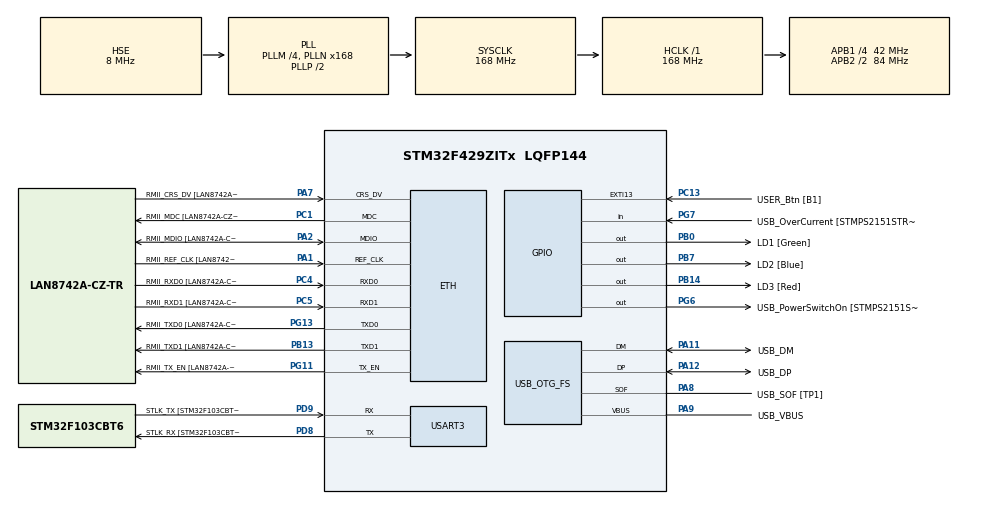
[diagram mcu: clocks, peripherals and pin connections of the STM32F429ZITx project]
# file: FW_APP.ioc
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Dma.Request0=USART3_RX
Dma.USART3_RX.0.Direction=DMA_PERIPH_TO_MEMORY
Dma.USART3_RX.0.FIFOMode=DMA_FIFOMODE_DISABLE
Dma.USART3_RX.0.Instance=DMA1_Stream1
Dma.USART3_RX.0.MemDataAlignment=DMA_MDATAALIGN_BYTE
Dma.USART3_RX.0.MemInc=DMA_MINC_ENABLE
Dma.USART3_RX.0.Mode=DMA_CIRCULAR
Dma.USART3_RX.0.PeriphDataAlignment=DMA_PDATAALIGN_BYTE
Dma.USART3_RX.0.PeriphInc=DMA_PINC_DISABLE
Dma.USART3_RX.0.Priority=DMA_PRIORITY_LOW
ETH.MediaInterface=HAL_ETH_RMII_MODE
ETH.PHY_Name=LAN8742A_PHY_ADDRESS
ETH.PHY_Value=0
ETH.PhyAddress=0
FREERTOS.Tasks01=defaultTask,24,128,StartDefaultTask,Default,NULL,Dynamic,NULL,NULL
FREERTOS.configCHECK_FOR_STACK_OVERFLOW=2
FREERTOS.configTOTAL_HEAP_SIZE=24576
FREERTOS.configUSE_MALLOC_FAILED_HOOK=1
IWDG.Prescaler=IWDG_PRESCALER_256
IWDG.Reload=500
LWIP.BSP.number=1
LWIP.DEFAULT_ACCEPTMBOX_SIZE=4
LWIP.DEFAULT_TCP_RECVMBOX_SIZE=8
LWIP.GATEWAY_ADDRESS=192.168.172.001
LWIP.IP_ADDRESS=192.168.172.100
LWIP.LWIP_DHCP=0
LWIP.LWIP_SO_RCVTIMEO=1
LWIP.LWIP_SO_SNDTIMEO=1
LWIP.MEM_SIZE=8192
LWIP.NETMASK_ADDRESS=255.255.255.000
LWIP.TCPIP_MBOX_SIZE=8
LWIP.TCPIP_THREAD_PRIO=40
LWIP.TCPIP_THREAD_STACKSIZE=2048
LWIP.Version=v2.1.2_Cube
LWIP0.BSP.STBoard=false
LWIP0.BSP.api=BSP_COMPONENT_DRIVER
LWIP0.BSP.component=LAN8742
LWIP0.BSP.instance=LAN8742
LWIP0.BSP.name=Driver_PHY
LWIP0.BSP.semaphore=S_LAN8742
LWIP0.BSP.solution=LAN8742
Mcu.Family=STM32F4
Mcu.Name=STM32F429ZITx
Mcu.Package=LQFP144
NVIC.DMA1_Stream1_IRQn=true\:5\:0\:false\:false\:true\:true\:false\:true\:true
NVIC.ETH_IRQn=true\:5\:0\:false\:false\:true\:true\:false\:true\:true
NVIC.PriorityGroup=NVIC_PRIORITYGROUP_4
NVIC.TIM6_DAC_IRQn=true\:0\:0\:true\:false\:true\:false\:false\:true\:true
NVIC.TimeBase=TIM6_DAC_IRQn
NVIC.TimeBaseIP=TIM6
NVIC.USART3_IRQn=true\:6\:0\:true\:false\:true\:true\:true\:true\:true
PA1.GPIO_Label=RMII_REF_CLK [LAN8742A-CZ-TR_REFCLK0]
PA1.Mode=RMII
PA1.Signal=ETH_REF_CLK
PA10.GPIO_Label=USB_ID
PA10.Signal=USB_OTG_FS_ID
PA11.GPIO_Label=USB_DM
PA11.Mode=Device_Only
PA11.Signal=USB_OTG_FS_DM
PA12.GPIO_Label=USB_DP
PA12.Mode=Device_Only
PA12.Signal=USB_OTG_FS_DP
PA13.GPIO_Label=TMS
PA13.Mode=Serial_Wire
PA13.Signal=SYS_JTMS-SWDIO
PA14.GPIO_Label=TCK
PA14.Mode=Serial_Wire
PA14.Signal=SYS_JTCK-SWCLK
PA2.GPIO_Label=RMII_MDIO [LAN8742A-CZ-TR_MDIO]
PA2.Mode=RMII
PA2.Signal=ETH_MDIO
PA7.GPIO_Label=RMII_CRS_DV [LAN8742A-CZ-TR_CRS_DV]
PA7.Mode=RMII
PA7.Signal=ETH_CRS_DV
PA8.GPIO_Label=USB_SOF [TP1]
PA8.Mode=Activate_SOF_FS
PA8.Signal=USB_OTG_FS_SOF
PA9.GPIO_Label=USB_VBUS
PA9.Mode=Activate_VBUS
PA9.Signal=USB_OTG_FS_VBUS
PB0.GPIO_Label=LD1 [Green]
PB0.Signal=GPIO_Output
PB13.GPIO_Label=RMII_TXD1 [LAN8742A-CZ-TR_TXD1]
PB13.Mode=RMII
PB13.Signal=ETH_TXD1
PB14.GPIO_Label=LD3 [Red]
PB14.Signal=GPIO_Output
PB7.GPIO_Label=LD2 [Blue]
PB7.Signal=GPIO_Output
PC1.GPIO_Label=RMII_MDC [LAN8742A-CZ-TR_MDC]
PC1.Mode=RMII
PC1.Signal=ETH_MDC
PC13.GPIO_Label=USER_Btn [B1]
PC13.Signal=GPXTI13
PC14/OSC32_IN.Mode=LSE-External-Oscillator
PC14/OSC32_IN.Signal=RCC_OSC32_IN
PC15/OSC32_OUT.Mode=LSE-External-Oscillator
PC15/OSC32_OUT.Signal=RCC_OSC32_OUT
PC4.GPIO_Label=RMII_RXD0 [LAN8742A-CZ-TR_RXD0]
PC4.Mode=RMII
PC4.Signal=ETH_RXD0
PC5.GPIO_Label=RMII_RXD1 [LAN8742A-CZ-TR_RXD1]
PC5.Mode=RMII
PC5.Signal=ETH_RXD1
PD8.GPIO_Label=STLK_RX [STM32F103CBT6_PA3]
PD8.Mode=Asynchronous
PD8.Signal=USART3_TX
PD9.GPIO_Label=STLK_TX [STM32F103CBT6_PA2]
PD9.Mode=Asynchronous
PD9.Signal=USART3_RX
PG11.GPIO_Label=RMII_TX_EN [LAN8742A-CZ-TR_TXEN]
PG11.Mode=RMII
PG11.Signal=ETH_TX_EN
PG13.GPIO_Label=RMII_TXD0 [LAN8742A-CZ-TR_TXD0]
PG13.Mode=RMII
PG13.Signal=ETH_TXD0
PG6.GPIO_Label=USB_PowerSwitchOn [STMPS2151STR_EN]
PG6.Signal=GPIO_Output
PG7.GPIO_Label=USB_OverCurrent [STMPS2151STR_FAULT]
PG7.Signal=GPIO_Input
PH0/OSC_IN.GPIO_Label=MCO [STM32F103CBT6_PA8]
PH0/OSC_IN.Mode=HSE-External-Clock-Source
PH0/OSC_IN.Signal=RCC_OSC_IN
PH1/OSC_OUT.Mode=HSE-External-Clock-Source
PH1/OSC_OUT.Signal=RCC_OSC_OUT
ProjectManager.HeapSize=0x200
ProjectManager.StackSize=0x400
ProjectManager.TargetToolchain=STM32CubeIDE
RCC.48MHZClocksFreq_Value=48000000
RCC.AHBFreq_Value=168000000
RCC.APB1CLKDivider=RCC_HCLK_DIV4
RCC.APB1Freq_Value=42000000
RCC.APB1TimFreq_Value=84000000
RCC.APB2CLKDivider=RCC_HCLK_DIV2
RCC.APB2Freq_Value=84000000
RCC.APB2TimCLKDivider=2
RCC.APB2TimFreq_Value=168000000
RCC.CortexFreq_Value=168000000
RCC.HCLKFreq_Value=168000000
RCC.HSE_VALUE=8000000
RCC.HSI_VALUE=16000000
RCC.PLLM=4
RCC.PLLMUL=RCC_PLL_MUL9
RCC.PLLN=168
RCC.PLLQ=7
RCC.PRESCALERUSB=RCC_USBCLKSOURCE_PLL_DIV1_5
RCC.SYSCLKFreq_VALUE=168000000
RCC.SYSCLKSource=RCC_SYSCLKSOURCE_PLLCLK
RCC.SYSCLKSourceVirtual=RCC_SYSCLKSOURCE_PLLCLK
RCC.USBFreq_Value=48000000
RCC.VCOOutputFreq_Value=336000000
USART3.VirtualMode=VM_ASYNC
USB_OTG_FS.VirtualMode=Device_Only
VP_CRC_VS_CRC.Mode=CRC_Activate
VP_FREERTOS_VS_CMSIS_V2.Mode=CMSIS_V2
VP_IWDG_VS_IWDG.Mode=IWDG_Activate
VP_LWIP_VS_Enabled.Mode=Enabled
VP_SYS_VS_tim6.Mode=TIM6
board=NUCLEO-F429ZI

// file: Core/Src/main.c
/* USER CODE BEGIN Header */
/**
  ******************************************************************************
  * @file           : main.c
  * @brief          : Main program body
  ******************************************************************************
  * @attention
  *
  * Copyright (c) 2026 STMicroelectronics.
  * All rights reserved.
  *
  * This software is licensed under terms that can be found in the LICENSE file
  * in the root directory of this software component.
  * If no LICENSE file comes with this software, it is provided AS-IS.
  *
  ******************************************************************************
  */
/* USER CODE END Header */
#include "main.h"
#include "cmsis_os.h"
#include "lwip.h"

/* USER CODE BEGIN Includes */
#include "flash_if.h"
#include "net_link.h"
#include "dbg_uart.h"
#include "wdg_monitor.h"
#include "uart_link.h"
#include "fw_info.h"
#include "ota.h"             /* FwTransport/FwTarget + Ota_EnterDownloadMode/Ota_RequestRollback */
#include "sys_info.h"        /* SysInfo_Report — 접속 시 보드/메모리 정보 조회 */
#include <string.h>          /* 명령 매처의 memcmp/memset */
/* USER CODE END Includes */

CRC_HandleTypeDef hcrc;

IWDG_HandleTypeDef hiwdg;

UART_HandleTypeDef huart3;
DMA_HandleTypeDef hdma_usart3_rx;

PCD_HandleTypeDef hpcd_USB_OTG_FS;

/* Definitions for defaultTask */
osThreadId_t defaultTaskHandle;
const osThreadAttr_t defaultTask_attributes = {
  .name = "defaultTask",
  /* [R1 디버깅] 기본값 128*4(512B)에서 4096B로 키움.
   * 이 태스크가 MX_LWIP_Init()을 실행하는데, 그 안의 HAL_ETH_Init()/LAN8742_Init()이
   * 큰 지역 구조체(ETH_MACConfigTypeDef 등)를 써서 512B로는 스택이 넘친다.
   * ※ 이 줄은 CubeMX 생성 영역이라 재생성 시 되돌아간다.
   *   확정되면 CubeMX(FREERTOS → Tasks and Queues → defaultTask → Stack Size = 1024 words)에도 반영할 것.
   * 이 태스크는 초기화 후 osThreadExit()로 종료되므로 스택은 곧 회수된다. */
  .stack_size = 1024 * 4,
  .priority = (osPriority_t) osPriorityNormal,
};
/* USER CODE BEGIN PV */

/* --- ledTask: 하트비트(LD2) 겸 CPU 기아 감지기 ---
 * 최저 우선순위(osPriorityLow)로 두는 것이 의도적인 설계다. 상위 태스크가 CPU를 독점하면
 * 이 태스크가 가장 먼저 굶으므로, R2에서 워치독 체크인을 붙이면 그대로 '기아 감지기'가 된다.
 * (하트비트 LED와 생존 감시가 같은 메커니즘이 된다) */
osThreadId_t ledTaskHandle;
const osThreadAttr_t ledTask_attributes = {
  .name       = "ledTask",
  /* 512 → 1024. 실측 사용량은 320~328B로 안정적이라 512B에서도 동작에 문제는 없었지만
   * (여유 36~38%), 다른 태스크가 42~87%인 것에 비해 혼자 얇아 여유를 맞췄다.
   * 힙 여유가 12KB라 비용이 작다. 사용량에는 App_PrintStatusLine()의 지역 버퍼
   * (STATUS_LINE_MAX=96B)가 포함된다. */
  .stack_size = 1024,
  .priority   = (osPriority_t) osPriorityLow,
};

/* --- wdgTask: 체크인 취합 후 IWDG pet ---
 * OTA/통신 태스크보다 '위'에 둔다(폭주 태스크가 감시 판정을 지연시키지 못하게).
 * 다만 네트워크 스레드(tcpip/EthIf)보다는 '아래'에 둬서 lwIP에 지터를 주지 않는다. */
osThreadId_t wdgTaskHandle;
const osThreadAttr_t wdgTask_attributes = {
  .name       = "wdgTask",
  .stack_size = 512,
  .priority   = (osPriority_t) osPriorityAboveNormal,
};

/* --- uartTask: UART "FWUPDATE" 감시 + OTA 수행 ---
 * Ota_EnterDownloadMode가 256B 청크 버퍼 등을 스택에 두므로 넉넉히 잡는다. */
osThreadId_t uartTaskHandle;
const osThreadAttr_t uartTask_attributes = {
  .name       = "uartTask",
  /* 2048 → 2560. ota.c 분할로 호출 사슬이 깊어졌고(Ota_EnterDownloadMode → ota_run →
   * ota_recv_chunks(buf[256]) → ota_recv_one_chunk), 여기에 SysInfo_Report까지 얹혔다.
   * 실측(netTask)에서 여유가 356B(17%)까지 내려간 적이 있어 두 태스크를 함께 올린다. */
  .stack_size = 2560,
  .priority   = (osPriority_t) osPriorityNormal,
};

/* --- netTask: TCP 서버 (R4는 echo, R5부터 OTA) ---
 * 소켓 API와 Ota_EnterDownloadMode(256B 청크 버퍼)를 쓰므로 uartTask와 같은 크기로 잡는다. */
osThreadId_t netTaskHandle;
const osThreadAttr_t netTask_attributes = {
  .name       = "netTask",
  /* 2048 → 2560. 실측 여유가 356B(17%)까지 내려갔다 — 다른 태스크(69~87%)에 비해
   * 혼자 얇다. 원인은 ota.c 분할로 깊어진 호출 사슬. 자세한 건 uartTask 주석 참고. */
  .stack_size = 2560,
  .priority   = (osPriority_t) osPriorityNormal,
};

/* USER CODE END PV */

void SystemClock_Config(void);
static void MX_GPIO_Init(void);
static void MX_DMA_Init(void);
static void MX_USART3_UART_Init(void);
static void MX_USB_OTG_FS_PCD_Init(void);
static void MX_IWDG_Init(void);
static void MX_CRC_Init(void);
void StartDefaultTask(void *argument);

/* USER CODE BEGIN PFP */
static void StartLedTask(void *argument);
static void StartUartTask(void *argument);
static void StartNetTask(void *argument);
/* USER CODE END PFP */

/* USER CODE BEGIN 0 */

/* 워치독 감시 슬롯 ID (StartDefaultTask에서 등록) */
static WdgId s_ledWdgId  = WDG_INVALID_ID;
static WdgId s_uartWdgId = WDG_INVALID_ID;
static WdgId s_netWdgId  = WDG_INVALID_ID;

/* OTA 세션 상호배제: UART와 TCP 두 경로가 동시에 다운로드를 시작하지 못하게 한다.
 * 반드시 try-lock(타임아웃 0)으로만 잡는다 — 블로킹으로 기다리면 진 쪽이 앞선 세션이
 * 끝난 뒤 '두 번째' 다운로드를 시작해 Staging을 망친다. 잡으면 풀지 않는다
 * (성공=재부팅, 실패=Wdg_Panic 후 정지). 부팅 후 모든 flash 접근도 이 뮤텍스로 직렬화된다. */
static osMutexId_t s_otaMutex = NULL;

/* USART3 송신권. 주기적인 버전 로그(ledTask)와 OTA 프로토콜 응답(uartTask)이 같은 UART를
 * 쓰기 때문에 반드시 배타 처리해야 한다. 로그가 청크 스트림 사이에 끼어들면 전송이 깨진다.
 *   · 로거  : try-lock. 못 잡으면 이번 주기 로그를 조용히 건너뛴다.
 *   · OTA   : 세션 '전체' 동안 잡는다(응답 하나하나가 아니라 세션 단위여야 안전).
 * TCP OTA는 다른 채널이므로 이 뮤텍스를 잡지 않는다 — 그동안 UART 로그는 계속 나온다. */
static osMutexId_t s_uartTxMutex = NULL;

/* 상태 한 줄이 들어갈 크기: 고정 문구(~30) + 버전 2개(FW_INFO_VER_LEN) + up 초(10) + 여유 */
#define STATUS_LINE_MAX   96U

/** @brief strnlen 대체 — nano.specs 조합에서 가시성이 옵션에 좌우되지 않도록 직접 둔다.
  *        Factory 슬롯에서 읽은 문자열은 널 종료가 깨져 있을 수 있어 상한이 반드시 필요하다. */
static uint32_t App_StrNLen(const char *s, uint32_t max)
{
  uint32_t n = 0U;
  while ((n < max) && (s[n] != '\0')) { n++; }
  return n;
}

/** @brief 부호 없는 10진수를 dst에 쓰고, 쓴 길이를 반환한다(널 종료 없음). */
static uint32_t App_U32ToDec(char *dst, uint32_t v)
{
  char     tmp[10];
  uint32_t n = 0U;
  uint32_t i = 0U;

  if (v == 0U) { dst[0] = '0'; return 1U; }

  while ((v > 0U) && (n < sizeof(tmp))) { tmp[n++] = (char)('0' + (v % 10U)); v /= 10U; }
  while (n > 0U) { dst[i++] = tmp[--n]; }
  return i;
}

/**
  * @brief  현재 상태 한 줄을 dst에 조립한다(널 종료). 반환값은 문자열 길이.
  * @note   형식이 UART 주기 로그와 '글자 단위로 같아야' 한다 — Ethernet 뷰어와 RS-232
  *         뷰어가 같은 화면으로 보이는 것이 이 기능의 목적이기 때문이다.
  *         그래서 UART/TCP 양쪽이 모두 이 함수를 통과한다.
  */
static uint32_t App_BuildStatusLine(char *dst, uint32_t cap)
{
  static const char P0[] = "[FW] app=";
  static const char P1[] = "  factory=";
  static const char P2[] = "  up=";
  static const char P3[] = "s\r\n";

  const char *app  = g_fwInfo.version;
  const char *fact = FwInfo_VersionOf(FACTORY_ADDRESS, FACTORY_SIZE);
  uint32_t    n    = 0U;

  /* cap은 STATUS_LINE_MAX로 넉넉히 잡혀 있지만, 버전 문자열이 손상돼 길어질 수 있으므로
   * (Factory 슬롯을 그대로 읽는다) 매 조각마다 남은 공간을 확인한다. */
  #define APPEND(src, len)  do {                                   \
      uint32_t _l = (uint32_t)(len);                               \
      if ((n + _l) >= cap) { dst[n] = '\0'; return n; }            \
      memcpy(&dst[n], (src), _l); n += _l;                         \
    } while (0)

  APPEND(P0, sizeof(P0) - 1U);
  APPEND(app,  App_StrNLen(app,  FW_INFO_VER_LEN));
  APPEND(P1, sizeof(P1) - 1U);
  APPEND(fact, App_StrNLen(fact, FW_INFO_VER_LEN));
  APPEND(P2, sizeof(P2) - 1U);

  if ((n + 10U) < cap) { n += App_U32ToDec(&dst[n], HAL_GetTick() / 1000U); }

  APPEND(P3, sizeof(P3) - 1U);
  #undef APPEND

  dst[n] = '\0';
  return n;
}

/* --- SysInfo 보고를 각 전송 계층으로 흘려보내는 어댑터 ---
 * SysInfo_Report는 줄 단위 콜백으로 내보내므로, 큰 버퍼 없이 그대로 중계하면 된다. */
static void App_SysInfoToUart(void *ctx, const char *line)
{
  (void)ctx;
  Dbg_Puts(line);                    /* 호출자가 s_uartTxMutex를 쥔 상태여야 한다 */
}

static void App_SysInfoToTcp(void *ctx, const char *line)
{
  (void)ctx;
  (void)NetLink_Send((const uint8_t *)line, (uint32_t)strlen(line));
}

/**
  * @brief  현재 상태 한 줄을 USART3로 출력한다(ledTask의 주기 로그).
  * @note   호출자가 USART3 송신권을 이미 확보한 상태로 부를 것.
  */
static void App_PrintStatusLine(void)
{
  char buf[STATUS_LINE_MAX];
  (void)App_BuildStatusLine(buf, sizeof(buf));
  Dbg_Puts(buf);
}

/* --- UART 전송 백엔드 (USART3: 순환 DMA + StreamBuffer) --- */
static bool Uart_Recv(uint8_t *buf, uint32_t len, uint32_t timeoutMs)
{
  return UartLink_Recv(buf, len, timeoutMs);
}
static bool Uart_Send(const uint8_t *buf, uint32_t len)
{
  return UartLink_Send(buf, len);
}
static void Uart_Pet(void)
{
  /* [R3] 직접 IWDG를 갱신하지 않는다 — 체크인만 하고, 실제 pet은 wdgTask가
   * '등록된 모든 태스크가 기한 내 체크인'했을 때만 수행한다. */
  Wdg_CheckIn(s_uartWdgId);
}

/* --- TCP 전송 백엔드 (lwIP, net_link) --- */
static bool Tcp_Recv(uint8_t *buf, uint32_t len, uint32_t timeoutMs)
{
  return NetLink_Recv(buf, len, timeoutMs);
}
static bool Tcp_Send(const uint8_t *buf, uint32_t len)
{
  return NetLink_Send(buf, len);
}
static void Tcp_Pet(void)
{
  /* [R4] 예전에는 여기서 NetLink_Poll()로 lwIP를 손수 돌려야 했다. 베어메탈에서는
   * 긴 erase 동안 단일 루프가 멈추면 스택도 같이 죽었기 때문이다. 이제 lwIP가
   * 자체 tcpip_thread로 계속 돌아가므로 그 펌핑은 불필요하다 — 체크인만 하면 된다. */
  Wdg_CheckIn(s_netWdgId);
}

/* 재부팅 직전 TCP 세션을 정상 종료한다(FIN). 상대가 '연결이 끊겼다'를 알아야
 * 재전송을 멈추고, 그래야 리셋된 PHY가 조용한 매체에서 오토네고를 성공시킨다.
 * 자세한 배경은 ota.h의 FwTransport 주석 참고. */
static void Tcp_Quiesce(void)
{
  NetLink_CloseClient();
}

static const FwTransport uartTransport = { Uart_Recv, Uart_Send, Uart_Pet, NULL         };
static const FwTransport tcpTransport  = { Tcp_Recv,  Tcp_Send,  Tcp_Pet,  Tcp_Quiesce  };

/* USER CODE END 0 */

int main(void)
{

  /* USER CODE BEGIN 1 */

  /* === 벡터 테이블 재배치 (★필수) ===
   * 이 앱은 0x0802_0000(실행영역)에 위치하므로, 인터럽트 벡터 테이블 위치를 CPU에 알려준다.
   * 이 줄이 없으면 인터럽트 발생 시 CPU가 부트로더(0x0800_0000)의 핸들러로 점프해 오동작한다. */
  SCB->VTOR = 0x08020000U;

  /* === 잔류 인터럽트 정리 (RTOS 전환과 함께 필요해짐) ===
   * 부트로더는 점프 전에 HAL_DeInit까지 하지만 NVIC의 enable/pending 비트는 지우지 않는다.
   * 지금까지는 앱에 페리페럴 인터럽트가 하나도 없어서 무해했지만, 이제 TIM6/ETH/USART3/DMA
   * 핸들러가 생기므로 잔류 pending이 '핸들러는 있는데 핸들이 아직 초기화 안 된' 상태로
   * 튈 수 있다. (부트로더는 수정 대상이 아니므로 앱에서 방어한다) */
  for (int i = 0; i < 8; i++)
  {
    NVIC->ICER[i] = 0xFFFFFFFFU;   /* 전부 disable */
    NVIC->ICPR[i] = 0xFFFFFFFFU;   /* 전부 pending clear */
  }
  __DSB();
  __ISB();

  /* USER CODE END 1 */

  /* MCU Configuration--------------------------------------------------------*/

  /* Reset of all peripherals, Initializes the Flash interface and the Systick. */
  HAL_Init();

  /* Configure the system clock */
  SystemClock_Config();

  /* Initialize all configured peripherals */
  MX_GPIO_Init();
  MX_DMA_Init();
  MX_USART3_UART_Init();
  MX_USB_OTG_FS_PCD_Init();
  MX_IWDG_Init();
  MX_CRC_Init();
  /* USER CODE BEGIN 2 */

  /* 시험 부팅(TRIAL) 중이면 자가진단 후 '정상 확인(CONFIRMED)'을 기록한다.
   * 여기까지 도달 = 앱이 부팅·초기화에 성공했다는 뜻. (실제 제품은 센서/통신 점검 후 확인)
   * CONFIRMED를 못 남기고 앱이 멈추면 → 워치독이 리셋 → 부트로더가 Factory로 롤백. */
  {
    const FwMeta *m = (const FwMeta *)METADATA_ADDRESS;

    /* [R1 디버그] 부팅 배너: 이 줄이 몇 초마다 반복되면 '리셋 루프'라는 뜻이고,
     * state 값으로 워치독이 무장된 상태(TRIAL)인지 바로 알 수 있다.
     *   NONE=0xFFFFFFFF  PENDING=0x50454E44  TRIAL=0x54524941  CONFIRMED=0x434F4E46 */
    /* 부팅 시 한 번: 실행 중인 이미지와 Factory 슬롯 이미지의 버전 */
    Dbg_Puts("\r\n[FW] app=");
    Dbg_Puts(g_fwInfo.version);
    Dbg_Puts("  factory=");
    Dbg_Puts(FwInfo_VersionOf(FACTORY_ADDRESS, FACTORY_SIZE));
    Dbg_Puts("\r\n");

    /* 이 펌웨어가 처리할 수 있는 명령 목록.
     * 버전 문자열(FW_App01 등)은 기능이 추가돼도 그대로라, 보드에 올라간 이미지가
     * 새 명령을 아는지 알 수 없다. 목록을 찍어두면 UI가 무응답일 때
     * '펌웨어가 구버전이라 명령을 모르는 것'을 즉시 구분할 수 있다. */
    Dbg_Puts("[FW] cmds=FWUPDATE,FWFACTRY,FWROLLBK,FWSYS???\r\n");

    Dbg_Puts("[APP] boot  magic=");
    Dbg_PutHex32(m->magic);
    Dbg_Puts(" state=");
    Dbg_PutHex32(m->state);

    /* 리셋 원인(RCC_CSR 플래그) — '왜 재부팅됐는지'를 알려준다.
     *   IWDG = 워치독이 물었다(pet 누락)  SFT = NVIC_SystemReset() 호출
     *   PIN  = 리셋 버튼/ST-Link          POR/BOR = 전원 투입·전압 강하
     * CSR 원시값도 같이 찍는다: 플래그 매크로 해석이 어긋나거나 부트로더가 미리
     * 지워버린 경우를 구분하기 위함(디코드가 비었는데 원시값이 0이 아니면 매크로 문제,
     * 원시값의 상위 비트가 전부 0이면 우리보다 앞단에서 이미 클리어된 것). */
    Dbg_Puts("  CSR=");
    Dbg_PutHex32(RCC->CSR);
    Dbg_Puts("  rst:");
    if (__HAL_RCC_GET_FLAG(RCC_FLAG_PORRST))  { Dbg_Puts(" POR");  }
    if (__HAL_RCC_GET_FLAG(RCC_FLAG_BORRST))  { Dbg_Puts(" BOR");  }
    if (__HAL_RCC_GET_FLAG(RCC_FLAG_PINRST))  { Dbg_Puts(" PIN");  }
    if (__HAL_RCC_GET_FLAG(RCC_FLAG_SFTRST))  { Dbg_Puts(" SFT");  }
    if (__HAL_RCC_GET_FLAG(RCC_FLAG_IWDGRST)) { Dbg_Puts(" IWDG"); }
    if (__HAL_RCC_GET_FLAG(RCC_FLAG_WWDGRST)) { Dbg_Puts(" WWDG"); }
    if (__HAL_RCC_GET_FLAG(RCC_FLAG_LPWRRST)) { Dbg_Puts(" LPWR"); }
    /* 플래그를 지우지 않는다.
     * __HAL_RCC_CLEAR_RESET_FLAGS()는 RCC->CSR |= RMVF 인데, 한 번 지우고 나면 이후
     * 리셋 원인이 남지 않아(실측: 첫 부팅만 PIN, 그 뒤로는 계속 공백) 진단이 무력해졌다.
     * 지우지 않으면 마지막 POR 이후의 원인들이 '누적'되어 보이므로,
     * IWDG가 물었는지 여부를 확실히 알 수 있다(예: "PIN IWDG"). */
    Dbg_Puts("\r\n");

#if (FW_VARIANT == FW_VARIANT_APP02_BAD)
    /* [롤백 시험 전용] 자가확인 '직전'에 고의로 멈춘다.
     * 여기서 멈추면 CONFIRMED를 기록하지 못하고, 스케줄러도 시작되지 않아 워치독을
     * 갱신할 태스크가 아예 생기지 않는다. 부트로더가 TRIAL 점프 직전에 켜 둔 IWDG(약 4초)가
     * 곧 리셋시키고, 부트로더는 'TRIAL인데 확인 실패'로 판단해 Factory→App 롤백을 수행한다.
     * LD3(빨강)를 켜 두어 '멈춘 상태'임을 눈으로도 알 수 있게 한다. */
    Dbg_Puts("[TEST] BAD build - hanging before CONFIRMED; expect IWDG reset & rollback\r\n");
    HAL_GPIO_WritePin(LD3_GPIO_Port, LD3_Pin, GPIO_PIN_SET);
    while (1) { }
#endif

    if (m->magic == FW_UPDATE_MAGIC && m->state == FW_STATE_TRIAL)
    {
      IWDG->KR = 0x0000AAAAU;        /* 플래시 쓰기 전에 워치독 갱신(여유 확보) */
      FwMeta meta = *m;
      meta.state = FW_STATE_CONFIRMED;
      FlashIf_WriteMeta(&meta);
      Dbg_Puts("[APP] TRIAL -> CONFIRMED (self-test passed)\r\n");
    }
  }

  /* [R1] TCP 리슨 시작(NetLink_Init)은 여기서 하지 않는다.
   * RTOS 모드에서는 MX_LWIP_Init()이 StartDefaultTask 안에서(스케줄러 시작 후) 호출되므로,
   * 이 시점엔 lwIP가 아직 올라오지 않았다. TCP 서버는 R5에서 netTask가 담당한다. */

  /* USER CODE END 2 */

  /* Init scheduler */
  osKernelInitialize();

  /* Create the thread(s) */
  /* creation of defaultTask */
  defaultTaskHandle = osThreadNew(StartDefaultTask, NULL, &defaultTask_attributes);

  /* Start scheduler */
  osKernelStart();

  /* We should never get here as control is now taken by the scheduler */

  /* Infinite loop */
  while (1)
  {

    /* USER CODE BEGIN 3 */

    /* [R1] 여기 있던 베어메탈 단일 루프(워치독 pet + lwIP 수동 펌핑 + UART/TCP "FWUPDATE"
     * 감시 + 하트비트)는 FreeRTOS 태스크로 분해되어 이 자리에서 제거되었다.
     *   · 하트비트 + CPU 기아 감지 → ledTask            (R1, 아래)
     *   · 워치독 pet(체크인 취합)   → wdgTask            (R2)
     *   · UART "FWUPDATE" + OTA     → uartTask           (R3)
     *   · TCP "FWUPDATE" + OTA      → netTask            (R5)
     *   · lwIP 서비스               → tcpip_thread/EthIf (lwIP가 자동 생성)
     * osKernelStart()는 반환하지 않으므로 이 루프는 도달 불가(스케줄러 시작 실패 시의 안전망). */

    /* USER CODE END 3 */
  }
}

void SystemClock_Config(void)
{
  RCC_OscInitTypeDef RCC_OscInitStruct = {0};
  RCC_ClkInitTypeDef RCC_ClkInitStruct = {0};

  /** Configure the main internal regulator output voltage
  */
  __HAL_RCC_PWR_CLK_ENABLE();
  __HAL_PWR_VOLTAGESCALING_CONFIG(PWR_REGULATOR_VOLTAGE_SCALE1);

  /** Initializes the RCC Oscillators according to the specified parameters
  * in the RCC_OscInitTypeDef structure.
  */
  RCC_OscInitStruct.OscillatorType = RCC_OSCILLATORTYPE_LSI|RCC_OSCILLATORTYPE_HSE;
  RCC_OscInitStruct.HSEState = RCC_HSE_BYPASS;
  RCC_OscInitStruct.LSIState = RCC_LSI_ON;
  RCC_OscInitStruct.PLL.PLLState = RCC_PLL_ON;
  RCC_OscInitStruct.PLL.PLLSource = RCC_PLLSOURCE_HSE;
  RCC_OscInitStruct.PLL.PLLM = 4;
  RCC_OscInitStruct.PLL.PLLN = 168;
  RCC_OscInitStruct.PLL.PLLP = RCC_PLLP_DIV2;
  RCC_OscInitStruct.PLL.PLLQ = 7;
  if (HAL_RCC_OscConfig(&RCC_OscInitStruct) != HAL_OK)
  {
    Error_Handler();
  }

  /** Initializes the CPU, AHB and APB buses clocks
  */
  RCC_ClkInitStruct.ClockType = RCC_CLOCKTYPE_HCLK|RCC_CLOCKTYPE_SYSCLK
                              |RCC_CLOCKTYPE_PCLK1|RCC_CLOCKTYPE_PCLK2;
  RCC_ClkInitStruct.SYSCLKSource = RCC_SYSCLKSOURCE_PLLCLK;
  RCC_ClkInitStruct.AHBCLKDivider = RCC_SYSCLK_DIV1;
  RCC_ClkInitStruct.APB1CLKDivider = RCC_HCLK_DIV4;
  RCC_ClkInitStruct.APB2CLKDivider = RCC_HCLK_DIV2;

  if (HAL_RCC_ClockConfig(&RCC_ClkInitStruct, FLASH_LATENCY_5) != HAL_OK)
  {
    Error_Handler();
  }
}

static void MX_CRC_Init(void)
{

  hcrc.Instance = CRC;
  if (HAL_CRC_Init(&hcrc) != HAL_OK)
  {
    Error_Handler();
  }

}

static void MX_IWDG_Init(void)
{

  hiwdg.Instance = IWDG;
  hiwdg.Init.Prescaler = IWDG_PRESCALER_256;
  hiwdg.Init.Reload = 500;
  if (HAL_IWDG_Init(&hiwdg) != HAL_OK)
  {
    Error_Handler();
  }

}

static void MX_USART3_UART_Init(void)
{

  huart3.Instance = USART3;
  huart3.Init.BaudRate = 115200;
  huart3.Init.WordLength = UART_WORDLENGTH_8B;
  huart3.Init.StopBits = UART_STOPBITS_1;
  huart3.Init.Parity = UART_PARITY_NONE;
  huart3.Init.Mode = UART_MODE_TX_RX;
  huart3.Init.HwFlowCtl = UART_HWCONTROL_NONE;
  huart3.Init.OverSampling = UART_OVERSAMPLING_16;
  if (HAL_UART_Init(&huart3) != HAL_OK)
  {
    Error_Handler();
  }

}

static void MX_USB_OTG_FS_PCD_Init(void)
{

  hpcd_USB_OTG_FS.Instance = USB_OTG_FS;
  hpcd_USB_OTG_FS.Init.dev_endpoints = 4;
  hpcd_USB_OTG_FS.Init.speed = PCD_SPEED_FULL;
  hpcd_USB_OTG_FS.Init.dma_enable = DISABLE;
  hpcd_USB_OTG_FS.Init.phy_itface = PCD_PHY_EMBEDDED;
  hpcd_USB_OTG_FS.Init.Sof_enable = ENABLE;
  hpcd_USB_OTG_FS.Init.low_power_enable = DISABLE;
  hpcd_USB_OTG_FS.Init.lpm_enable = DISABLE;
  hpcd_USB_OTG_FS.Init.vbus_sensing_enable = ENABLE;
  hpcd_USB_OTG_FS.Init.use_dedicated_ep1 = DISABLE;
  if (HAL_PCD_Init(&hpcd_USB_OTG_FS) != HAL_OK)
  {
    Error_Handler();
  }

}

static void MX_DMA_Init(void)
{

  /* DMA controller clock enable */
  __HAL_RCC_DMA1_CLK_ENABLE();

  /* DMA interrupt init */
  /* DMA1_Stream1_IRQn interrupt configuration */
  HAL_NVIC_SetPriority(DMA1_Stream1_IRQn, 5, 0);
  HAL_NVIC_EnableIRQ(DMA1_Stream1_IRQn);

}

static void MX_GPIO_Init(void)
{
  GPIO_InitTypeDef GPIO_InitStruct = {0};

  /* GPIO Ports Clock Enable */
  __HAL_RCC_GPIOC_CLK_ENABLE();
  __HAL_RCC_GPIOH_CLK_ENABLE();
  __HAL_RCC_GPIOA_CLK_ENABLE();
  __HAL_RCC_GPIOB_CLK_ENABLE();
  __HAL_RCC_GPIOD_CLK_ENABLE();
  __HAL_RCC_GPIOG_CLK_ENABLE();

  /*Configure GPIO pin Output Level */
  HAL_GPIO_WritePin(GPIOB, LD1_Pin|LD3_Pin|LD2_Pin, GPIO_PIN_RESET);

  /*Configure GPIO pin Output Level */
  HAL_GPIO_WritePin(USB_PowerSwitchOn_GPIO_Port, USB_PowerSwitchOn_Pin, GPIO_PIN_RESET);

  /*Configure GPIO pin : USER_Btn_Pin */
  GPIO_InitStruct.Pin = USER_Btn_Pin;
  GPIO_InitStruct.Mode = GPIO_MODE_IT_RISING;
  GPIO_InitStruct.Pull = GPIO_NOPULL;
  HAL_GPIO_Init(USER_Btn_GPIO_Port, &GPIO_InitStruct);

  /*Configure GPIO pins : LD1_Pin LD3_Pin LD2_Pin */
  GPIO_InitStruct.Pin = LD1_Pin|LD3_Pin|LD2_Pin;
  GPIO_InitStruct.Mode = GPIO_MODE_OUTPUT_PP;
  GPIO_InitStruct.Pull = GPIO_NOPULL;
  GPIO_InitStruct.Speed = GPIO_SPEED_FREQ_LOW;
  HAL_GPIO_Init(GPIOB, &GPIO_InitStruct);

  /*Configure GPIO pin : USB_PowerSwitchOn_Pin */
  GPIO_InitStruct.Pin = USB_PowerSwitchOn_Pin;
  GPIO_InitStruct.Mode = GPIO_MODE_OUTPUT_PP;
  GPIO_InitStruct.Pull = GPIO_NOPULL;
  GPIO_InitStruct.Speed = GPIO_SPEED_FREQ_LOW;
  HAL_GPIO_Init(USB_PowerSwitchOn_GPIO_Port, &GPIO_InitStruct);

  /*Configure GPIO pin : USB_OverCurrent_Pin */
  GPIO_InitStruct.Pin = USB_OverCurrent_Pin;
  GPIO_InitStruct.Mode = GPIO_MODE_INPUT;
  GPIO_InitStruct.Pull = GPIO_NOPULL;
  HAL_GPIO_Init(USB_OverCurrent_GPIO_Port, &GPIO_InitStruct);

}

/* USER CODE BEGIN 4 */

/**
  * @brief  하트비트 태스크 — LD2를 100ms 주기로 토글한다(앱이 살아 있다는 표시).
  * @note   최저 우선순위(osPriorityLow)로 도는 것이 핵심이다. 상위 태스크가 CPU를
  *         독점하면 이 태스크가 가장 먼저 굶어 LED가 멈추므로, 눈으로도 이상을 알 수 있고
  *         R2에서 워치독 체크인을 추가하면 그대로 CPU 기아 감지기가 된다.
  */
static void StartLedTask(void *argument)
{
  (void)argument;

  uint32_t logTick = 0U;   /* 100ms 주기 × 10 = 1초마다 버전 로그 */
  uint32_t resTick = 0U;   /* 버전 로그 30회 = 30초마다 자원 여유 보고 */

  for (;;)
  {
    /* [R2] 직접 pet하지 않고 '체크인'만 한다.
     * 실제 IWDG pet은 wdgTask가 '등록된 모든 태스크가 기한 내 체크인'했을 때만 수행한다.
     * → 이 태스크(최저 우선순위)가 굶으면 곧 pet이 끊겨 리셋 → Factory 롤백. */
    Wdg_CheckIn(s_ledWdgId);

    /* --- 빌드 변형별 LED 패턴 (어떤 이미지가 돌고 있는지 눈으로 구분) ---
     * panic 상태에서는 LD3가 '장애 표시'로 점등되므로 LED 제어를 멈춰 혼동을 막는다. */
    if (!Wdg_IsPanicked())
    {
#if (FW_VARIANT == FW_VARIANT_FACTORY)
      /* LED 3개가 '차올랐다 빠지고, 반대로 다시 차올랐다 빠지는' 12단계 패턴.
       * 각 단계 500ms → 한 바퀴 6초.
       *    1~3 : LD1 → LD2 → LD3 순서로 하나씩 켜짐   (전부 켜짐)
       *    4~6 : LD1 → LD2 → LD3 순서로 하나씩 꺼짐   (전부 꺼짐)
       *    7~9 : LD3 → LD2 → LD1 순서로 하나씩 켜짐   (전부 켜짐)
       *   10~12: LD3 → LD2 → LD1 순서로 하나씩 꺼짐   (전부 꺼짐)
       *
       * ※ HAL_Delay(500)를 12번 늘어놓는 방식은 쓸 수 없다. 그러면 이 태스크가 한 바퀴에
       *   6초를 통째로 붙잡아:
       *     (a) 워치독 체크인이 루프당 1회뿐이라 기한(6초)에 딱 걸려 panic이 나고,
       *     (b) 1초마다 나와야 할 버전 로그가 6초에 한 번만 나온다.
       *   게다가 HAL_Delay는 busy-wait이라 RTOS에서 CPU를 태운다(osDelay와 달리 양보하지 않음).
       *   → 대신 100ms 주기인 이 루프가 5회 돌 때마다(=500ms) 한 단계씩 진행시킨다.
       *     보이는 동작은 완전히 동일하고, 체크인·로그 주기는 그대로 유지된다. */
      static const uint8_t ledPattern[12] = {
        /* bit0=LD1(초록) bit1=LD2(파랑) bit2=LD3(빨강) */
        0x01U,  /*  1) LD1                 */
        0x03U,  /*  2) LD1+LD2             */
        0x07U,  /*  3) LD1+LD2+LD3 (전부)  */
        0x06U,  /*  4) LD1 꺼짐            */
        0x04U,  /*  5) LD2 꺼짐            */
        0x00U,  /*  6) LD3 꺼짐 (전부 꺼짐)*/
        0x04U,  /*  7) LD3                 */
        0x06U,  /*  8) LD3+LD2             */
        0x07U,  /*  9) LD3+LD2+LD1 (전부)  */
        0x03U,  /* 10) LD3 꺼짐            */
        0x01U,  /* 11) LD2 꺼짐            */
        0x00U   /* 12) LD1 꺼짐 (전부 꺼짐)*/
      };
      static uint8_t patIdx = 0U;   /* 현재 단계 (0~11) */
      static uint8_t patSub = 0U;   /* 100ms 카운터 — 5회마다 다음 단계 */

      if (++patSub >= 1U)
      {
        patSub = 0U;
        patIdx = (uint8_t)((patIdx + 1U) % 12U);
      }

      uint8_t m = ledPattern[patIdx];
      HAL_GPIO_WritePin(LD1_GPIO_Port, LD1_Pin, (m & 0x01U) ? GPIO_PIN_SET : GPIO_PIN_RESET);
      HAL_GPIO_WritePin(LD2_GPIO_Port, LD2_Pin, (m & 0x02U) ? GPIO_PIN_SET : GPIO_PIN_RESET);
      HAL_GPIO_WritePin(LD3_GPIO_Port, LD3_Pin, (m & 0x04U) ? GPIO_PIN_SET : GPIO_PIN_RESET);

#elif (FW_VARIANT == FW_VARIANT_APP02) || (FW_VARIANT == FW_VARIANT_APP02_BAD)
      HAL_GPIO_TogglePin(LD1_GPIO_Port, LD1_Pin);      /* 초록 점멸 */
#else
      HAL_GPIO_TogglePin(LD2_GPIO_Port, LD2_Pin);      /* 파랑 점멸 (APP01) */
#endif
    }

    /* --- 1초마다 버전 로그 (실행 중인 이미지 + Factory 슬롯 이미지) ---
     * USART3는 UART OTA 채널이기도 하므로 송신권을 try-lock으로 잡을 때만 출력한다.
     * OTA 세션 중에는 잡히지 않아 자동으로 건너뛴다 → 프로토콜이 깨지지 않는다. */
    if ((++logTick >= 10U) && (s_uartTxMutex != NULL))
    {
      logTick = 0U;

      if (osMutexAcquire(s_uartTxMutex, 0U) == osOK)
      {
        App_PrintStatusLine();

        /* [R6] 30초마다 자원 여유 보고.
         * 스택 크기는 처음에 경험칙으로 정했으므로 '실제로 얼마나 쓰는지'를 재서 확인한다.
         * osThreadGetStackSpace()는 그 태스크가 지금까지 남긴 '최소' 여유(바이트)라,
         * OTA처럼 깊게 들어가는 작업을 한 번 거친 뒤의 값이 진짜 최악값이다.
         * heapMin은 부팅 이후 최저 힙 여유(= 가장 빠듯했던 순간). */
        if (++resTick >= 30U)
        {
          resTick = 0U;

          Dbg_Puts("[RES] stack free(B) led=");
          Dbg_PutU32(osThreadGetStackSpace(ledTaskHandle));
          Dbg_Puts(" uart=");
          Dbg_PutU32(osThreadGetStackSpace(uartTaskHandle));
          Dbg_Puts(" net=");
          Dbg_PutU32(osThreadGetStackSpace(netTaskHandle));
          Dbg_Puts(" wdg=");
          Dbg_PutU32(osThreadGetStackSpace(wdgTaskHandle));
          Dbg_Puts("  heap now=");
          Dbg_PutU32((uint32_t)xPortGetFreeHeapSize());
          Dbg_Puts(" min=");
          Dbg_PutU32((uint32_t)xPortGetMinimumEverFreeHeapSize());
          Dbg_Puts("\r\n");
        }

        osMutexRelease(s_uartTxMutex);
      }
    }

    /* [R6] R2에서 쓰던 'USER 버튼으로 태스크 멈춤 흉내내기' 시험 코드는 제거했다.
     *  · 워치독 체크인 사슬은 R2에서 이미 실증됐고,
     *  · 롤백 검증은 FW_VARIANT_APP02_BAD 빌드가 더 현실적으로(자가확인 실패) 대신하며,
     *  · USER 버튼은 부트로더의 '업데이트 모드 진입'에도 쓰여 혼동을 준다. */

    osDelay(100);
  }
}

/**
  * @brief  UART 통신 태스크 — "FWUPDATE" 명령을 감시하고 OTA를 수행한다.
  * @note   기존 베어메탈 루프의 10ms 블로킹 폴링을 대체한다. 이제 수신은 DMA+StreamBuffer가
  *         처리하고, 이 태스크는 100ms 타임아웃으로 1바이트씩 꺼내며 매처를 돌린다
  *         (타임아웃은 '무트래픽 상태에서도 깨어나 체크인하기 위한' 것).
  */
static void StartUartTask(void *argument)
{
  (void)argument;

  /* 명령은 둘 다 8바이트다. 마지막 8바이트를 슬라이딩 윈도로 들고 비교하면
   * 명령이 늘어나도 매처 로직이 단순하게 유지된다.
   *   "FWUPDATE" → Staging (정상 OTA, 적용 후 재부팅)
   *   "FWFACTRY" → Factory (골든 이미지 교체, 재부팅 없음)
   * 매처는 명령 8바이트만 소비하므로 뒤따르는 헤더/청크는 스트림에 그대로 남는다. */
  static const char CMD_STAGING[8]  = { 'F','W','U','P','D','A','T','E' };
  static const char CMD_FACTORY[8]  = { 'F','W','F','A','C','T','R','Y' };
  static const char CMD_ROLLBACK[8] = { 'F','W','R','O','L','L','B','K' };
  /* 보드/메모리 정보 조회 — 데이터 없이 여러 줄 응답만 돌려준다. */
  static const char CMD_SYSINFO[8]  = { 'F','W','S','Y','S','?','?','?' };
  uint8_t win[8] = {0};

  if (!UartLink_Init())
  {
    Wdg_Panic("UartLink_Init failed");
    vTaskSuspend(NULL);
  }

  for (;;)
  {
    Wdg_CheckIn(s_uartWdgId);

    uint8_t ch;
    if (!UartLink_Recv(&ch, 1U, 100U))
    {
      continue;                                  /* 타임아웃 — 체크인만 하고 계속 감시 */
    }

    /* 한 바이트 밀어 넣기 */
    for (int i = 0; i < 7; i++) { win[i] = win[i + 1]; }
    win[7] = ch;

    bool isStaging  = (memcmp(win, CMD_STAGING,  8) == 0);
    bool isFactory  = (memcmp(win, CMD_FACTORY,  8) == 0);
    bool isRollback = (memcmp(win, CMD_ROLLBACK, 8) == 0);

    /* 정보 조회는 Flash를 건드리지 않고 읽기만 하므로 OTA 세션 뮤텍스가 필요 없다.
     * 다만 USART3 송신권은 잡아야 한다 — 여러 줄을 내보내는 사이에 ledTask의 주기
     * 로그가 끼어들면 PC 쪽에서 한 덩어리로 읽기 어려워진다. */
    if (memcmp(win, CMD_SYSINFO, 8) == 0)
    {
      if (osMutexAcquire(s_uartTxMutex, 1000U) == osOK)
      {
        SysInfo_Report(App_SysInfoToUart, NULL);
        osMutexRelease(s_uartTxMutex);
      }
      memset(win, 0, sizeof(win));
      continue;
    }

    if (!isStaging && !isFactory && !isRollback)
    {
      continue;
    }

    /* try-lock: 이미 다른 경로(TCP)가 세션 중이면 조용히 무시하고 계속 감시. */
    if (osMutexAcquire(s_otaMutex, 0U) != osOK)
    {
      continue;
    }

    /* 세션 '전체' 동안 UART 송신권을 잡는다 → 주기 버전 로그가 프로토콜 사이에
     * 끼어들지 못한다. 로거는 try-lock이라 최대 수 ms만 기다리면 된다. */
    (void)osMutexAcquire(s_uartTxMutex, osWaitForever);

    if (isRollback)
    {
      Ota_RequestRollback(&uartTransport);   /* 성공 시 재부팅, 거부되면 복귀 */
    }
    else
    {
      Ota_EnterDownloadMode(&uartTransport,
                            isFactory ? FW_TARGET_FACTORY : FW_TARGET_STAGING);
    }

    /* 여기에 도달하는 건 Factory 경로뿐이다(정상 OTA는 재부팅하거나 Wdg_Panic으로 정지).
     * 다음 명령을 받을 수 있도록 송신권과 세션을 반납하고 윈도를 비운다. */
    osMutexRelease(s_uartTxMutex);
    osMutexRelease(s_otaMutex);
    memset(win, 0, sizeof(win));
  }
}

/**
  * @brief  TCP 서버 태스크 — "FWUPDATE"/"FWFACTRY"를 감시하고 OTA를 수행한다.
  * @note   [R5] uartTask와 완전히 같은 매처·같은 프로토콜을 쓴다. 다른 것은 전송 계층뿐이다
  *         (tcpTransport). 매처는 명령 8바이트만 소비하므로 뒤따르는 헤더/청크는 소켓에
  *         그대로 남아 Ota_EnterDownloadMode의 t->recv가 이어서 읽는다.
  */
static void StartNetTask(void *argument)
{
  (void)argument;

  static const char CMD_STAGING[8]  = { 'F','W','U','P','D','A','T','E' };
  static const char CMD_FACTORY[8]  = { 'F','W','F','A','C','T','R','Y' };
  static const char CMD_ROLLBACK[8] = { 'F','W','R','O','L','L','B','K' };
  /* 상태 조회 — TCP 전용이다. UART는 1초마다 배너가 알아서 나오므로 필요 없다. */
  static const char CMD_INFO[8]     = { 'F','W','I','N','F','O','?','?' };
  /* 보드/메모리 정보 조회 (접속 직후 1회). UART 쪽과 같은 명령이다. */
  static const char CMD_SYSINFO[8]  = { 'F','W','S','Y','S','?','?','?' };

  NetLink_Init();

  if (!NetLink_ServerOpen())
  {
    Wdg_Panic("NetLink_ServerOpen failed");
    vTaskSuspend(NULL);
  }

  for (;;)
  {
    Wdg_CheckIn(s_netWdgId);

    /* 200ms마다 빠져나와 체크인한다(접속이 없어도 '살아있음'을 알려야 하므로). */
    if (!NetLink_Accept(200U))
    {
      continue;
    }

    /* --- 세션 시작: 명령 감시 --- */
    uint8_t win[8] = {0};

    for (;;)
    {
      Wdg_CheckIn(s_netWdgId);

      uint8_t ch;
      if (!NetLink_Recv(&ch, 1U, 200U))
      {
        /* 타임아웃이면 계속 대기, 연결이 끊겼으면 세션 종료 */
        if (!NetLink_Connected()) break;
        continue;
      }

      /* 한 바이트 밀어 넣기 */
      for (int i = 0; i < 7; i++) { win[i] = win[i + 1]; }
      win[7] = ch;

      /* --- 상태 조회 (요청-응답, 한 줄 텍스트) ---
       * OTA 세션 뮤텍스를 잡지 않는다. 플래시를 건드리지 않고 읽기만 하는 데다,
       * 응답을 여기(netTask)에서 즉시 보내므로 소켓 사용이 겹칠 여지도 없다.
       *
       * ※ 이 응답은 반드시 '요청에 대한 응답'으로만 나가야 한다. 보드가 스스로 주기적으로
       *   보내면 OTA 청크/ACK 스트림 사이에 끼어 프로토콜이 깨진다. 폴링 주기는 PC가 쥔다. */
      if (memcmp(win, CMD_INFO, 8) == 0)
      {
        char     line[STATUS_LINE_MAX];
        uint32_t len = App_BuildStatusLine(line, sizeof(line));
        (void)NetLink_Send((const uint8_t *)line, len);
        memset(win, 0, sizeof(win));
        continue;
      }

      bool isStaging  = (memcmp(win, CMD_STAGING,  8) == 0);
      bool isFactory  = (memcmp(win, CMD_FACTORY,  8) == 0);
      /* 정보 조회 — Flash를 읽기만 하고, 응답도 이 태스크가 그 자리에서 보낸다
       * (소켓을 netTask만 만진다는 규칙을 그대로 지킨다). */
      if (memcmp(win, CMD_SYSINFO, 8) == 0)
      {
        SysInfo_Report(App_SysInfoToTcp, NULL);
        memset(win, 0, sizeof(win));
        continue;
      }

      bool isRollback = (memcmp(win, CMD_ROLLBACK, 8) == 0);
      if (!isStaging && !isFactory && !isRollback) continue;

      /* try-lock: UART 쪽이 이미 세션 중이면 조용히 무시하고 계속 감시한다.
       * 블로킹으로 기다리면 앞선 세션이 끝난 뒤 '두 번째' 다운로드가 시작돼 위험하다. */
      if (osMutexAcquire(s_otaMutex, 0U) != osOK) continue;

      if (isRollback)
      {
        Ota_RequestRollback(&tcpTransport);   /* 성공 시 재부팅, 거부되면 복귀 */
      }
      else
      {
        Ota_EnterDownloadMode(&tcpTransport,
                              isFactory ? FW_TARGET_FACTORY : FW_TARGET_STAGING);
      }

      /* 여기에 도달하는 건 Factory 경로뿐이다(정상 OTA는 재부팅하거나 Wdg_Panic으로 정지).
       * 연결은 살아 있으므로 세션만 반납하고 같은 소켓에서 계속 명령을 감시한다. */
      osMutexRelease(s_otaMutex);
      memset(win, 0, sizeof(win));
    }

    NetLink_CloseClient();
  }
}

/* USER CODE END 4 */

void StartDefaultTask(void *argument)
{
  /* init code for LWIP */
  MX_LWIP_Init();
  /* USER CODE BEGIN 5 */

  /* defaultTask는 '초기화 전용' 태스크로 쓴다.
   * 태스크 테이블을 CubeMX 'Tasks and Queues' 탭이 아니라 USER CODE에 두면
   * .ioc를 재생성해도 구성이 흔들리지 않는다.
   *
   * ※ ledTask는 위 MX_LWIP_Init()보다 먼저 만들 수 없다(생성 코드가 USER CODE 밖에 있음).
   *   대신 진단을 위해: LD2가 점멸하면 "스케줄러 + lwIP 초기화까지 성공"을 뜻하고,
   *   점멸하지 않으면 MX_LWIP_Init() 도중에 죽은 것이다(스택 부족/PHY 초기화 실패 등).
   *   스택 오버플로/힙 부족은 freertos.c의 훅이 LD3로 알려준다. */
  /* OTA 세션 뮤텍스 (UART/TCP 경합 방지) + USART3 송신권 뮤텍스 (로그 vs 프로토콜) */
  s_otaMutex    = osMutexNew(NULL);
  s_uartTxMutex = osMutexNew(NULL);
  if ((s_otaMutex == NULL) || (s_uartTxMutex == NULL))
  {
    Wdg_Panic("mutex create failed");
  }

  /* 워치독 감시 슬롯 등록은 태스크 생성보다 먼저 (감시 태스크가 즉시 판정에 들어가므로).
   *
   * 기한은 '정상 동작 중 발생할 수 있는 최장 공백'보다 커야 한다. 여기서 지배적인 요인은
   * 128KB 섹터 1개 소거(typ 1s, 최악 4s)다 — HAL이 busy-wait 폴링을 하므로 그동안
   * 더 낮은 우선순위 태스크는 아예 돌지 못한다(섹터 사이 osDelay(1)로 1섹터분으로 제한).
   *  · ledTask (Low)    : 평소 100ms마다 체크인하지만 소거 중엔 선점당해 굶는다 → 6초
   *  · uartTask (Normal): OTA 중 체크인 간격이 곧 섹터 1개 소거 시간 → 6초
   * (참고: wdgTask는 AboveNormal이라 소거 중에도 uartTask를 선점해 IWDG pet은 계속된다) */
  s_ledWdgId  = Wdg_Register("ledTask",  6000U);
  s_uartWdgId = Wdg_Register("uartTask", 6000U);
  s_netWdgId  = Wdg_Register("netTask",  6000U);

  ledTaskHandle  = osThreadNew(StartLedTask,     NULL, &ledTask_attributes);
  uartTaskHandle = osThreadNew(StartUartTask,    NULL, &uartTask_attributes);
  netTaskHandle  = osThreadNew(StartNetTask,     NULL, &netTask_attributes);
  wdgTaskHandle  = osThreadNew(Wdg_MonitorTask,  NULL, &wdgTask_attributes);

  /* 할 일을 끝냈으므로 스스로 종료해 스택을 반납한다(무한루프로 남기지 않는다). */
  osThreadExit();
  /* USER CODE END 5 */
}

void HAL_TIM_PeriodElapsedCallback(TIM_HandleTypeDef *htim)
{
  if (htim->Instance == TIM6)
  {
    HAL_IncTick();
  }
}

void Error_Handler(void)
{
  /* USER CODE BEGIN Error_Handler_Debug */
  /* [R2] 조용히 멈추지 않는다.
   *  · UART로 알리고 Wdg_Panic()으로 IWDG pet을 영구 중단시켜, 리셋 → Factory 롤백으로 잇는다.
   *  · __disable_irq()는 하지 않는다: 인터럽트를 끄면 진단 출력도 어려워지고,
   *    (IWDG는 인터럽트와 무관하지만) 굳이 정보를 버릴 이유가 없다.
   *  · 아주 이른 시점(클럭 설정 실패 등)에 불릴 수 있는데, 그때 huart3는 아직 RESET 상태라
   *    HAL_UART_Transmit이 즉시 HAL_BUSY로 빠져나오므로 안전하다. */
  Dbg_Puts("\r\n*** Error_Handler()\r\n");
  Wdg_Panic("Error_Handler");

  while (1)
  {
  }
  /* USER CODE END Error_Handler_Debug */
}

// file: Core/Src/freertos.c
/* USER CODE BEGIN Header */
/**
  ******************************************************************************
  * File Name          : freertos.c
  * Description        : Code for freertos applications
  ******************************************************************************
  * @attention
  *
  * Copyright (c) 2026 STMicroelectronics.
  * All rights reserved.
  *
  * This software is licensed under terms that can be found in the LICENSE file
  * in the root directory of this software component.
  * If no LICENSE file comes with this software, it is provided AS-IS.
  *
  ******************************************************************************
  */
/* USER CODE END Header */

#include "FreeRTOS.h"
#include "task.h"
#include "main.h"

/* USER CODE BEGIN Includes */
#include "dbg_uart.h"
#include "wdg_monitor.h"
/* USER CODE END Includes */

/* Hook prototypes */
void vApplicationStackOverflowHook(xTaskHandle xTask, signed char *pcTaskName);
void vApplicationMallocFailedHook(void);

/* USER CODE BEGIN 4 */

/* 마지막 장애 정보 — 디버거로 확인용 */
volatile const char *g_faultTaskName = NULL;
volatile uint32_t    g_faultHeapFree = 0;

/**
  * @brief  스택 오버플로 감지 훅 (configCHECK_FOR_STACK_OVERFLOW == 2)
  * @note   훅이 비어 있으면 오버플로가 '조용히' 지나가 나중에 엉뚱한 하드폴트로 나타난다.
  *         Wdg_Panic()으로 pet을 영구 중단시켜 IWDG 리셋 → Factory 롤백까지 이어지게 한다.
  *         (여기서 무한루프만 돌면 다른 태스크가 대신 pet해 롤백이 무력화될 수 있다)
  */
void vApplicationStackOverflowHook(xTaskHandle xTask, signed char *pcTaskName)
{
  (void)xTask;
  g_faultTaskName = (const char *)pcTaskName;

  Dbg_Puts("\r\n*** FreeRTOS STACK OVERFLOW in task: ");
  Dbg_Puts((const char *)pcTaskName);
  Dbg_Puts("\r\n");

  Wdg_Panic("stack overflow");

  /* 인터럽트를 끄지 않는다: IWDG가 물어 리셋시켜야 롤백으로 이어진다. */
  for (;;) { }
}
/* USER CODE END 4 */

/* USER CODE BEGIN 5 */
/**
  * @brief  FreeRTOS 힙 부족 훅 (configUSE_MALLOC_FAILED_HOOK == 1)
  * @note   태스크/큐/세마포어 생성이 configTOTAL_HEAP_SIZE 부족으로 실패하면 호출된다.
  */
void vApplicationMallocFailedHook(void)
{
  g_faultHeapFree = (uint32_t)xPortGetFreeHeapSize();

  Dbg_Puts("\r\n*** FreeRTOS MALLOC FAILED, free heap = ");
  Dbg_PutU32(g_faultHeapFree);
  Dbg_Puts("\r\n");

  Wdg_Panic("malloc failed");

  for (;;) { }
}
/* USER CODE END 5 */
